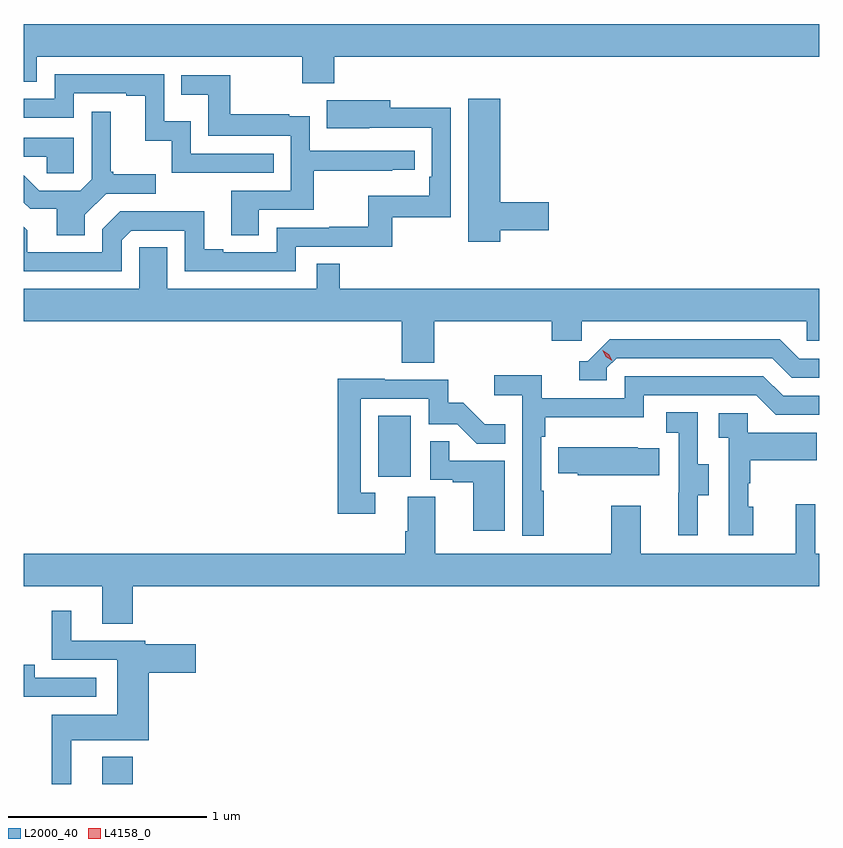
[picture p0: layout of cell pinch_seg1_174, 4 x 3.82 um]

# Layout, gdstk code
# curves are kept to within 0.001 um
import gdstk
lib = gdstk.Library(unit=1e-6, precision=1e-09)
def R(c, l, rs):  # rectangles x0, y0, x1, y1
    for r in rs: c.add(gdstk.rectangle(r[:2], r[2:], *l))
def P(c, l, *ps):  # polygons
    for p in ps: c.add(gdstk.Polygon(p, *l))
L2000_40 = (2000, 40)
L4158_0 = (4158, 0)

pinch_seg1_174 = lib.new_cell('pinch_seg1_174')
R(pinch_seg1_174, L2000_40, [(1080.791,549.405,1080.944,549.541), (1082.18,550.95,1082.344,551.257)])
P(pinch_seg1_174, L2000_40, [(1081.958,553.064),(1084.397,553.064),(1084.397,553.228),(1080.397,553.228),(1080.397,552.937),(1080.462,552.937),(1080.462,553.064),(1081.798,553.064),(1081.798,552.929),(1081.958,552.929)],
  [(1081.655,552.576),(1081.236,552.576),(1081.236,552.739),(1081.104,552.739),(1081.104,552.975),(1080.552,552.975),(1080.552,552.852),(1080.397,552.852),(1080.397,552.756),(1080.648,552.756),(1080.648,552.879),(1080.911,552.879),(1080.911,552.867),(1081.007,552.867),(1081.007,552.641),(1081.14,552.641),(1081.14,552.48),(1081.655,552.48)],
  [(1081.579,552.294),(1081.856,552.294),(1081.856,552.49),(1082.249,552.49),(1082.249,552.495),(1082.362,552.495),(1082.362,552.591),(1081.836,552.591),(1081.836,552.763),(1081.733,552.763),(1081.733,552.775),(1081.435,552.775),(1081.435,552.969),(1081.189,552.969),(1081.189,552.872),(1081.324,552.872),(1081.324,552.666),(1081.74,552.666),(1081.74,552.39),(1081.439,552.39),(1081.439,552.166),(1081.579,552.166)],
  [(1082.794,552.19),(1083.037,552.19),(1083.037,552.332),(1082.794,552.332),(1082.794,552.853),(1082.633,552.853),(1082.633,552.132),(1082.794,552.132)],
  [(1080.888,552.141),(1080.936,552.189),(1081.206,552.189),(1081.206,551.985),(1081.764,551.985),(1081.764,552.108),(1082.251,552.108),(1082.251,552.255),(1082.544,552.255),(1082.544,552.806),(1082.239,552.806),(1082.239,552.844),(1081.921,552.844),(1081.921,552.704),(1082.448,552.705),(1082.448,552.46),(1082.435,552.46),(1082.435,552.364),(1082.13,552.364),(1082.13,552.209),(1081.933,552.209),(1081.933,552.204),(1081.668,552.204),(1081.668,552.081),(1081.399,552.081),(1081.399,552.094),(1081.303,552.094),(1081.303,552.287),(1081.098,552.287),(1081.098,552.285),(1080.882,552.285),(1080.792,552.195),(1080.792,552.081),(1080.415,552.081),(1080.415,552.191),(1080.397,552.209),(1080.397,551.985),(1080.888,551.985)],
  [(1080.703,552.268),(1080.81,552.375),(1081.06,552.375),(1081.06,552.472),(1080.847,552.472),(1080.847,552.484),(1080.835,552.484),(1080.835,552.787),(1080.738,552.787),(1080.738,552.447),(1080.681,552.39),(1080.475,552.39),(1080.397,552.468),(1080.397,552.329),(1080.428,552.298),(1080.563,552.298),(1080.563,552.166),(1080.703,552.166)],
  [(1080.648,552.657),(1080.397,552.657),(1080.397,552.561),(1080.511,552.561),(1080.511,552.477),(1080.648,552.477)],
  [(1082.462,551.732),(1083.053,551.732),(1083.053,551.634),(1083.204,551.634),(1083.204,551.732),(1084.335,551.732),(1084.335,551.634),(1084.397,551.634),(1084.397,551.896),(1081.985,551.896),(1081.985,552.023),(1081.869,552.023),(1081.869,551.896),(1081.117,551.896),(1081.117,552.104),(1080.978,552.104),(1080.978,551.896),(1080.397,551.896),(1080.397,551.732),(1082.297,551.732),(1082.297,551.524),(1082.462,551.524)],
  [(1083.33,551.499),(1083.378,551.547),(1084.161,551.547),(1084.26,551.448),(1084.397,551.448),(1084.397,551.544),(1084.297,551.544),(1084.198,551.643),(1083.345,551.643),(1083.234,551.532),(1083.191,551.532),(1083.191,551.436),(1083.33,551.436)],
  [(1083.013,550.88),(1083,550.88),(1083,551.153),(1083.02,551.153),(1083.02,551.249),(1083.516,551.249),(1083.516,551.361),(1084.08,551.361),(1084.179,551.262),(1084.397,551.262),(1084.397,551.358),(1084.216,551.358),(1084.117,551.457),(1083.42,551.457),(1083.42,551.346),(1083.002,551.346),(1083.002,551.462),(1082.763,551.462),(1082.763,551.36),(1082.904,551.36),(1082.904,550.653),(1083.013,550.653)],
  [(1082.164,550.869),(1082.091,550.869),(1082.091,551.343),(1082.433,551.343),(1082.433,551.214),(1082.577,551.214),(1082.675,551.116),(1082.819,551.116),(1082.819,551.215),(1082.715,551.215),(1082.608,551.322),(1082.532,551.322),(1082.532,551.439),(1082.213,551.439),(1082.213,551.444),(1081.975,551.444),(1081.975,550.764),(1082.164,550.764)],
  [(1083.787,550.858),(1083.841,550.858),(1083.841,551.013),(1083.786,551.013),(1083.786,551.276),(1083.627,551.276),(1083.627,551.173),(1083.69,551.173),(1083.69,550.869),(1083.689,550.869),(1083.689,550.656),(1083.787,550.656)],
  [(1084.066,550.8),(1084.041,550.8),(1084.041,550.919),(1084.051,550.919),(1084.051,551.033),(1084.385,551.033),(1084.385,551.173),(1084.038,551.173),(1084.038,551.271),(1083.891,551.271),(1083.891,551.147),(1083.942,551.147),(1083.942,550.656),(1084.066,550.656)],
  [(1082.815,551.031),(1082.537,551.031),(1082.537,551.129),(1082.442,551.129),(1082.442,550.935),(1082.553,550.935),(1082.553,550.923),(1082.657,550.923),(1082.657,550.68),(1082.815,550.68)],
  [(1083.593,551.095),(1083.485,551.095),(1083.485,551.098),(1083.085,551.098),(1083.085,550.969),(1083.183,550.969),(1083.183,550.958),(1083.593,550.958)],
  [(1080.944,550.4),(1084.397,550.4),(1084.397,550.564),(1084.377,550.564),(1084.377,550.813),(1084.28,550.813),(1084.28,550.564),(1083.499,550.564),(1083.499,550.804),(1083.352,550.804),(1083.352,550.564),(1082.467,550.564),(1082.467,550.85),(1082.327,550.85),(1082.327,550.676),(1082.315,550.676),(1082.315,550.564),(1080.397,550.564),(1080.397,550.4),(1080.791,550.4),(1080.791,550.21),(1080.944,550.21)],
  [(1080.634,549.626),(1081.025,549.626),(1081.025,549.965),(1081.261,549.965),(1081.261,550.107),(1081.008,550.107),(1081.008,550.125),(1080.634,550.125),(1080.634,550.276),(1080.536,550.276),(1080.536,550.029),(1080.866,550.029),(1080.866,549.754),(1080.536,549.754),(1080.536,549.405),(1080.634,549.405)],
  [(1080.76,549.939),(1080.451,549.939),(1080.451,550.006),(1080.397,550.006),(1080.397,549.843),(1080.76,549.843)])
P(pinch_seg1_174, L4158_0, [(1083.356,551.534),(1083.325,551.554),(1083.309,551.587),(1083.309,551.587),(1083.309,551.587),(1083.34,551.567),(1083.356,551.535),(1083.356,551.534)])

lib.write_gds('pinch_seg1_174.gds')
